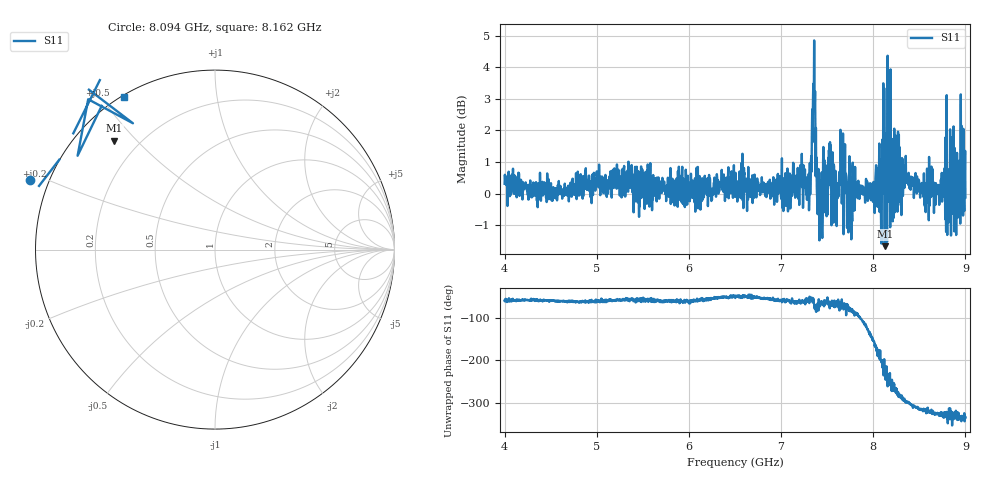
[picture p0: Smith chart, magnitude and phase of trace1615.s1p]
! Created with skrf 1.8.0 (http://scikit-rf.org).
# Hz S RI R 50.0
!freq ReS11 ImS11
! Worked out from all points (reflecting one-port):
!   1601 points, 4 GHz to 9 GHz, reference 50 ohm
!   lowest |S11| = -1.7 dB at 8.125 GHz (marker M1), VSWR 10.49, Z = 5.67 + j21.6 ohm
!   phase of S11 starts at -59 deg and turns -276 deg over the sweep
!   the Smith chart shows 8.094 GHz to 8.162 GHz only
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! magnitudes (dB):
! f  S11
! 4 GHz  0.3
! 4.625 GHz  -0.2
! 5.25 GHz  -0.1
! 5.875 GHz  0.0
! 6.5 GHz  0.4
! 7.125 GHz  0.0
! 7.294 GHz  -0.1
! 7.316 GHz  0.0
! 7.344 GHz  2.5
! 7.359 GHz  4.8
! 7.397 GHz  -0.6
! 7.428 GHz  -0.4
! 7.512 GHz  1.1
! 7.603 GHz  -1.0
! 7.65 GHz  1.1
! 7.75 GHz  0.3
! 7.997 GHz  -0.3
! 8.069 GHz  -0.6
! 8.097 GHz  1.3
! 8.125 GHz  -1.7
! 8.178 GHz  3.9
! 8.216 GHz  1.2
! 8.375 GHz  0.4
! 8.678 GHz  0.3
! 8.809 GHz  0.8
! 8.919 GHz  -0.1
! 8.956 GHz  0.2
! 9 GHz  -0.1
